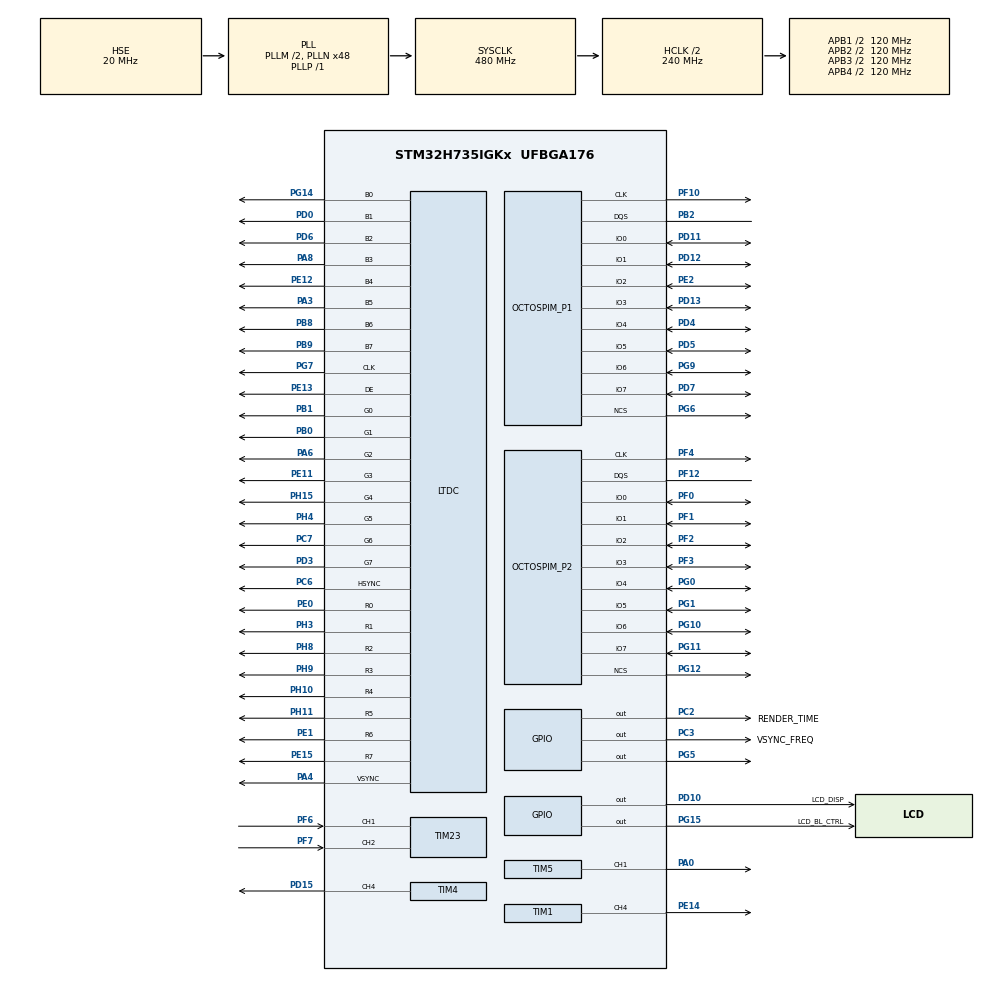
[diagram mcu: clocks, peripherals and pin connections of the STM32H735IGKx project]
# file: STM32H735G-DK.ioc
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CORTEX_M7.AccessPermission-Cortex_Memory_Protection_Unit_Region0_Settings=MPU_REGION_FULL_ACCESS
CORTEX_M7.AccessPermission-Cortex_Memory_Protection_Unit_Region2_Settings=MPU_REGION_FULL_ACCESS
CORTEX_M7.AccessPermission-Cortex_Memory_Protection_Unit_Region4_Settings=MPU_REGION_FULL_ACCESS
CORTEX_M7.BaseAddress-Cortex_Memory_Protection_Unit_Region0_Settings=0x24000000
CORTEX_M7.BaseAddress-Cortex_Memory_Protection_Unit_Region1_Settings=0x70000000
CORTEX_M7.BaseAddress-Cortex_Memory_Protection_Unit_Region2_Settings=0x70000000
CORTEX_M7.BaseAddress-Cortex_Memory_Protection_Unit_Region3_Settings=0x90000000
CORTEX_M7.BaseAddress-Cortex_Memory_Protection_Unit_Region4_Settings=0x90000000
CORTEX_M7.CPU_DCache=Enabled
CORTEX_M7.CPU_ICache=Enabled
CORTEX_M7.DisableExec-Cortex_Memory_Protection_Unit_Region0_Settings=MPU_INSTRUCTION_ACCESS_DISABLE
CORTEX_M7.DisableExec-Cortex_Memory_Protection_Unit_Region1_Settings=MPU_INSTRUCTION_ACCESS_DISABLE
CORTEX_M7.DisableExec-Cortex_Memory_Protection_Unit_Region2_Settings=MPU_INSTRUCTION_ACCESS_DISABLE
CORTEX_M7.DisableExec-Cortex_Memory_Protection_Unit_Region3_Settings=MPU_INSTRUCTION_ACCESS_DISABLE
CORTEX_M7.DisableExec-Cortex_Memory_Protection_Unit_Region4_Settings=MPU_INSTRUCTION_ACCESS_DISABLE
CORTEX_M7.Enable-Cortex_Memory_Protection_Unit_Region0_Settings=MPU_REGION_ENABLE
CORTEX_M7.Enable-Cortex_Memory_Protection_Unit_Region1_Settings=MPU_REGION_ENABLE
CORTEX_M7.Enable-Cortex_Memory_Protection_Unit_Region2_Settings=MPU_REGION_ENABLE
CORTEX_M7.Enable-Cortex_Memory_Protection_Unit_Region3_Settings=MPU_REGION_ENABLE
CORTEX_M7.Enable-Cortex_Memory_Protection_Unit_Region4_Settings=MPU_REGION_ENABLE
CORTEX_M7.IsBufferable-Cortex_Memory_Protection_Unit_Region0_Settings=MPU_ACCESS_BUFFERABLE
CORTEX_M7.IsBufferable-Cortex_Memory_Protection_Unit_Region2_Settings=MPU_ACCESS_BUFFERABLE
CORTEX_M7.IsCacheable-Cortex_Memory_Protection_Unit_Region0_Settings=MPU_ACCESS_CACHEABLE
CORTEX_M7.IsCacheable-Cortex_Memory_Protection_Unit_Region2_Settings=MPU_ACCESS_CACHEABLE
CORTEX_M7.IsCacheable-Cortex_Memory_Protection_Unit_Region4_Settings=MPU_ACCESS_CACHEABLE
CORTEX_M7.MPU_Control=MPU_PRIVILEGED_DEFAULT
CORTEX_M7.Size-Cortex_Memory_Protection_Unit_Region0_Settings=MPU_REGION_SIZE_512KB
CORTEX_M7.Size-Cortex_Memory_Protection_Unit_Region1_Settings=MPU_REGION_SIZE_512MB
CORTEX_M7.Size-Cortex_Memory_Protection_Unit_Region2_Settings=MPU_REGION_SIZE_8MB
CORTEX_M7.Size-Cortex_Memory_Protection_Unit_Region3_Settings=MPU_REGION_SIZE_512MB
CORTEX_M7.Size-Cortex_Memory_Protection_Unit_Region4_Settings=MPU_REGION_SIZE_64MB
DMA2D.ColorMode=DMA2D_OUTPUT_RGB888
DMA2D.Mode=DMA2D_R2M
FREERTOS.Tasks01=defaultTask,24,128,StartDefaultTask,Default,NULL,Dynamic,NULL,NULL;TouchGFXTask,24,1024,TouchGFX_Task,As external,NULL,Dynamic,NULL,NULL
FREERTOS.configUSE_APPLICATION_TASK_TAG=1
FREERTOS.configUSE_IDLE_HOOK=1
LTDC.ActiveH=272
LTDC.ActiveW=480
LTDC.Alpha_L0=255
LTDC.FBStartAdress_L0=0x70000000
LTDC.FBStartAdress_L1=0x70000000
LTDC.HBP=13
LTDC.HFP=32
LTDC.HSync=41
LTDC.ImageHeight_L0=272
LTDC.ImageWidth_L0=480
LTDC.Layers=0
LTDC.PixelFormat_L0=LTDC_PIXEL_FORMAT_RGB888
LTDC.VSync=10
LTDC.WindowX1_L0=480
LTDC.WindowY1_L0=272
Mcu.Family=STM32H7
Mcu.Name=STM32H735IGKx
Mcu.Package=UFBGA176
NVIC.DMA2D_IRQn=true\:5\:0\:true\:false\:true\:false\:true\:true
NVIC.LTDC_IRQn=true\:5\:0\:true\:false\:true\:false\:true\:true
NVIC.PriorityGroup=NVIC_PRIORITYGROUP_4
NVIC.TIM23_IRQn=true\:5\:0\:false\:false\:true\:true\:true\:true
NVIC.TIM6_DAC_IRQn=true\:0\:0\:false\:false\:true\:false\:false\:true
NVIC.TIM8_TRG_COM_TIM14_IRQn=true\:5\:0\:false\:false\:true\:true\:true\:true
NVIC.TimeBase=TIM6_DAC_IRQn
NVIC.TimeBaseIP=TIM6
OCTOSPI1.ChipSelectBoundary=0
OCTOSPI1.ChipSelectHighTime=2
OCTOSPI1.ClockPrescaler=2
OCTOSPI1.FifoThreshold=4
OCTOSPI1.MemoryType=HAL_OSPI_MEMTYPE_MACRONIX
OCTOSPI2.AccessTime=6
OCTOSPI2.ChipSelectBoundary=23
OCTOSPI2.ChipSelectHighTime=4
OCTOSPI2.ClkChipSelectHighTime=0
OCTOSPI2.ClockPrescaler=2
OCTOSPI2.DelayBlockBypass=HAL_OSPI_DELAY_BLOCK_USED
OCTOSPI2.DelayHoldQuarterCycle=HAL_OSPI_DHQC_ENABLE
OCTOSPI2.DeviceSize=24
OCTOSPI2.FifoThreshold=4
OCTOSPI2.LatencyMode=HAL_OSPI_FIXED_LATENCY
OCTOSPI2.RWRecoveryTime=3
OCTOSPI2.Refresh=400
OCTOSPI2.WriteZeroLatency=HAL_OSPI_LATENCY_ON_WRITE
PA0.Signal=S_TIM5_CH1
PA3.GPIO_Speed=GPIO_SPEED_FREQ_VERY_HIGH
PA3.Mode=RGB888
PA3.Signal=LTDC_B5
PA4.GPIO_Speed=GPIO_SPEED_FREQ_VERY_HIGH
PA4.Mode=RGB888
PA4.Signal=LTDC_VSYNC
PA6.GPIO_Speed=GPIO_SPEED_FREQ_VERY_HIGH
PA6.Mode=RGB888
PA6.Signal=LTDC_G2
PA8.GPIO_Speed=GPIO_SPEED_FREQ_VERY_HIGH
PA8.Mode=RGB888
PA8.Signal=LTDC_B3
PB0.GPIO_Speed=GPIO_SPEED_FREQ_VERY_HIGH
PB0.Mode=RGB888
PB0.Signal=LTDC_G1
PB1.GPIO_Speed=GPIO_SPEED_FREQ_VERY_HIGH
PB1.Mode=RGB888
PB1.Signal=LTDC_G0
PB2.Mode=OCTOSPI1_Port1_DQS
PB2.Signal=OCTOSPIM_P1_DQS
PB8.GPIO_Speed=GPIO_SPEED_FREQ_VERY_HIGH
PB8.Mode=RGB888
PB8.Signal=LTDC_B6
PB9.GPIO_Speed=GPIO_SPEED_FREQ_VERY_HIGH
PB9.Mode=RGB888
PB9.Signal=LTDC_B7
PC2.GPIO_Label=RENDER_TIME
PC2.GPIO_PuPd=GPIO_PULLUP
PC2.GPIO_Speed=GPIO_SPEED_FREQ_VERY_HIGH
PC2.PinState=GPIO_PIN_SET
PC2.Signal=GPIO_Output
PC3.GPIO_Label=VSYNC_FREQ
PC3.GPIO_PuPd=GPIO_PULLUP
PC3.GPIO_Speed=GPIO_SPEED_FREQ_VERY_HIGH
PC3.PinState=GPIO_PIN_SET
PC3.Signal=GPIO_Output
PC6.GPIO_Speed=GPIO_SPEED_FREQ_VERY_HIGH
PC6.Mode=RGB888
PC6.Signal=LTDC_HSYNC
PC7.GPIO_Speed=GPIO_SPEED_FREQ_VERY_HIGH
PC7.Mode=RGB888
PC7.Signal=LTDC_G6
PD0.GPIO_Speed=GPIO_SPEED_FREQ_VERY_HIGH
PD0.Mode=RGB888
PD0.Signal=LTDC_B1
PD10.GPIO_Label=LCD_DISP
PD10.GPIO_PuPd=GPIO_NOPULL
PD10.GPIO_Speed=GPIO_SPEED_FREQ_LOW
PD10.PinState=GPIO_PIN_RESET
PD10.Signal=GPIO_Output
PD11.Mode=OCTOSPI1_IOL_Port1L
PD11.Signal=OCTOSPIM_P1_IO0
PD12.Mode=OCTOSPI1_IOL_Port1L
PD12.Signal=OCTOSPIM_P1_IO1
PD13.Mode=OCTOSPI1_IOL_Port1L
PD13.Signal=OCTOSPIM_P1_IO3
PD15.Signal=S_TIM4_CH4
PD3.GPIO_Speed=GPIO_SPEED_FREQ_VERY_HIGH
PD3.Mode=RGB888
PD3.Signal=LTDC_G7
PD4.Mode=OCTOSPI1_IOH_Port1H
PD4.Signal=OCTOSPIM_P1_IO4
PD5.Mode=OCTOSPI1_IOH_Port1H
PD5.Signal=OCTOSPIM_P1_IO5
PD6.GPIO_Speed=GPIO_SPEED_FREQ_VERY_HIGH
PD6.Mode=RGB888
PD6.Signal=LTDC_B2
PD7.Mode=OCTOSPI1_IOH_Port1H
PD7.Signal=OCTOSPIM_P1_IO7
PE0.GPIO_Speed=GPIO_SPEED_FREQ_VERY_HIGH
PE0.Mode=RGB888
PE0.Signal=LTDC_R0
PE1.GPIO_Speed=GPIO_SPEED_FREQ_VERY_HIGH
PE1.Mode=RGB888
PE1.Signal=LTDC_R6
PE11.GPIO_Speed=GPIO_SPEED_FREQ_VERY_HIGH
PE11.Mode=RGB888
PE11.Signal=LTDC_G3
PE12.GPIO_Speed=GPIO_SPEED_FREQ_VERY_HIGH
PE12.Mode=RGB888
PE12.Signal=LTDC_B4
PE13.GPIO_Speed=GPIO_SPEED_FREQ_VERY_HIGH
PE13.Mode=RGB888
PE13.Signal=LTDC_DE
PE14.Signal=S_TIM1_CH4
PE15.GPIO_Speed=GPIO_SPEED_FREQ_VERY_HIGH
PE15.Mode=RGB888
PE15.Signal=LTDC_R7
PE2.Mode=OCTOSPI1_IOL_Port1L
PE2.Signal=OCTOSPIM_P1_IO2
PF0.Mode=OCTOSPI2_IOL_Port2L
PF0.Signal=OCTOSPIM_P2_IO0
PF1.Mode=OCTOSPI2_IOL_Port2L
PF1.Signal=OCTOSPIM_P2_IO1
PF10.Mode=O1_P1_CLK
PF10.Signal=OCTOSPIM_P1_CLK
PF12.Mode=OCTOSPI2_Port2_DQS
PF12.Signal=OCTOSPIM_P2_DQS
PF2.Mode=OCTOSPI2_IOL_Port2L
PF2.Signal=OCTOSPIM_P2_IO2
PF3.Mode=OCTOSPI2_IOL_Port2L
PF3.Signal=OCTOSPIM_P2_IO3
PF4.Mode=O2_P2_CLK
PF4.Signal=OCTOSPIM_P2_CLK
PF6.Mode=Encoder_Interface
PF6.Signal=TIM23_CH1
PF7.Signal=S_TIM23_CH2
PG0.Mode=OCTOSPI2_IOH_Port2H
PG0.Signal=OCTOSPIM_P2_IO4
PG1.Mode=OCTOSPI2_IOH_Port2H
PG1.Signal=OCTOSPIM_P2_IO5
PG10.Mode=OCTOSPI2_IOH_Port2H
PG10.Signal=OCTOSPIM_P2_IO6
PG11.Mode=OCTOSPI2_IOH_Port2H
PG11.Signal=OCTOSPIM_P2_IO7
PG12.Mode=OCTOSPI2_Port2_NCS
PG12.Signal=OCTOSPIM_P2_NCS
PG14.GPIO_Speed=GPIO_SPEED_FREQ_VERY_HIGH
PG14.Mode=RGB888
PG14.Signal=LTDC_B0
PG15.GPIO_Label=LCD_BL_CTRL
PG15.Signal=GPIO_Output
PG5.Signal=GPIO_Output
PG6.Mode=OCTOSPI1_Port1_NCS
PG6.Signal=OCTOSPIM_P1_NCS
PG7.GPIO_Speed=GPIO_SPEED_FREQ_VERY_HIGH
PG7.Mode=RGB888
PG7.Signal=LTDC_CLK
PG9.Mode=OCTOSPI1_IOH_Port1H
PG9.Signal=OCTOSPIM_P1_IO6
PH0-OSC_IN.Mode=HSE-External-Oscillator
PH0-OSC_IN.Signal=RCC_OSC_IN
PH1-OSC_OUT.Mode=HSE-External-Oscillator
PH1-OSC_OUT.Signal=RCC_OSC_OUT
PH10.GPIO_Speed=GPIO_SPEED_FREQ_VERY_HIGH
PH10.Mode=RGB888
PH10.Signal=LTDC_R4
PH11.GPIO_Speed=GPIO_SPEED_FREQ_VERY_HIGH
PH11.Mode=RGB888
PH11.Signal=LTDC_R5
PH15.GPIO_Speed=GPIO_SPEED_FREQ_VERY_HIGH
PH15.Mode=RGB888
PH15.Signal=LTDC_G4
PH3.GPIO_Speed=GPIO_SPEED_FREQ_VERY_HIGH
PH3.Mode=RGB888
PH3.Signal=LTDC_R1
PH4.GPIO_Speed=GPIO_SPEED_FREQ_VERY_HIGH
PH4.Mode=RGB888
PH4.Signal=LTDC_G5
PH8.GPIO_Speed=GPIO_SPEED_FREQ_VERY_HIGH
PH8.Mode=RGB888
PH8.Signal=LTDC_R2
PH9.GPIO_Speed=GPIO_SPEED_FREQ_VERY_HIGH
PH9.Mode=RGB888
PH9.Signal=LTDC_R3
ProjectManager.HeapSize=0x1000
ProjectManager.StackSize=0x1000
ProjectManager.TargetToolchain=STM32CubeIDE
RCC.ADCFreq_Value=160000000
RCC.APB1Freq_Value=120000000
RCC.APB2Freq_Value=120000000
RCC.APB3Freq_Value=120000000
RCC.APB4Freq_Value=120000000
RCC.CortexFreq_Value=480000000
RCC.D1PPRE=RCC_APB3_DIV2
RCC.D2PPRE1=RCC_APB1_DIV2
RCC.D2PPRE2=RCC_APB2_DIV2
RCC.D3PPRE=RCC_APB4_DIV2
RCC.DIVM1=2
RCC.DIVM2=5
RCC.DIVM3=25
RCC.DIVN1=48
RCC.DIVN2=80
RCC.DIVN3=288
RCC.DIVP1=1
RCC.DIVR3=30
RCC.HCLKFreq_Value=240000000
RCC.HPRE=RCC_HCLK_DIV2
RCC.HSE_VALUE=20000000
RCC.PLL2FRACN=0
RCC.PLL3FRACN=0
RCC.PLLFRACN=0
RCC.PLLSourceVirtual=RCC_PLLSOURCE_HSE
RCC.QSPICLockSelection=RCC_OSPICLKSOURCE_PLL2
RCC.SYSCLKFreq_VALUE=480000000
RCC.SYSCLKSource=RCC_SYSCLKSOURCE_PLLCLK
RCC.SupplySource=PWR_DIRECT_SMPS_SUPPLY
RCC.USBFreq_Value=240000000
SH.S_TIM1_CH4.0=TIM1_CH4,PWM Generation4 CH4
SH.S_TIM23_CH2.0=TIM23_CH2,Encoder_Interface
SH.S_TIM4_CH4.0=TIM4_CH4,PWM Generation4 CH4
SH.S_TIM5_CH1.0=TIM5_CH1,PWM Generation1 CH1
STMicroelectronics.X-CUBE-TOUCHGFX.4.18.1.ApplicationCcGraphicsJjApplication=TouchGFXOoGenerator
STMicroelectronics.X-CUBE-TOUCHGFX.4.18.1.tgfx_address1=0x70000000
STMicroelectronics.X-CUBE-TOUCHGFX.4.18.1.tgfx_address2=0x70060000
STMicroelectronics.X-CUBE-TOUCHGFX.4.18.1.tgfx_buffering_strategy=Double
STMicroelectronics.X-CUBE-TOUCHGFX.4.18.1.tgfx_display_interface=disp_ltdc
STMicroelectronics.X-CUBE-TOUCHGFX.4.18.1.tgfx_hardware_accelerator=dma_2d
STMicroelectronics.X-CUBE-TOUCHGFX.4.18.1.tgfx_location=By Address
STMicroelectronics.X-CUBE-TOUCHGFX.4.18.1.tgfx_vsync=vsync_ltdc
TIM1.AutoReloadPreload=TIM_AUTORELOAD_PRELOAD_ENABLE
TIM1.Channel-PWM\ Generation4\ CH4=TIM_CHANNEL_4
TIM1.CounterMode=TIM_COUNTERMODE_CENTERALIGNED1
TIM1.Period=28800-1
TIM1.Pulse-PWM\ Generation4\ CH4=1
TIM14.Period=57600-1
TIM23.EncoderMode=TIM_ENCODERMODE_TI12
TIM4.AutoReloadPreload=TIM_AUTORELOAD_PRELOAD_ENABLE
TIM4.Channel-PWM\ Generation4\ CH4=TIM_CHANNEL_4
TIM4.CounterMode=TIM_COUNTERMODE_CENTERALIGNED1
TIM4.Period=28800-1
TIM4.Pulse-PWM\ Generation4\ CH4=1
TIM5.AutoReloadPreload=TIM_AUTORELOAD_PRELOAD_ENABLE
TIM5.Channel-PWM\ Generation1\ CH1=TIM_CHANNEL_1
TIM5.CounterMode=TIM_COUNTERMODE_CENTERALIGNED1
TIM5.Period=28800-1
TIM5.Pulse-PWM\ Generation1\ CH1=1
VP_CRC_VS_CRC.Mode=CRC_Activate
VP_DMA2D_VS_DMA2D.Mode=DMA2D_Activate
VP_FREERTOS_VS_CMSIS_V2.Mode=CMSIS_V2
VP_OCTOSPI1_VS_octo.Mode=octo_mode
VP_OCTOSPI2_VS_octo.Mode=hyperbus_mode
VP_STMicroelectronics.X-CUBE-TOUCHGFX_VS_GraphicsJjApplication_4.18.1.Mode=GraphicsJjApplication
VP_SYS_VS_tim6.Mode=TIM6
VP_TIM14_VS_ClockSourceINT.Mode=Enable_Timer
board=custom

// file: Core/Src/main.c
/* USER CODE BEGIN Header */
/**
  ******************************************************************************
  * @file           : main.c
  * @brief          : Main program body
  ******************************************************************************
  * @attention
  *
  * <h2><center>&copy; Copyright (c) 2020 STMicroelectronics.
  * All rights reserved.</center></h2>
  *
  * This software component is licensed by ST under Ultimate Liberty license
  * SLA0044, the "License"; You may not use this file except in compliance with
  * the License. You may obtain a copy of the License at:
  *                             www.st.com/SLA0044
  *
  ******************************************************************************
  */
/* USER CODE END Header */
#include "main.h"
#include "cmsis_os.h"
#include "app_touchgfx.h"

/* USER CODE BEGIN Includes */
#include "stm32h735g_discovery_ospi.h"
#include "stm32h7xx_hal_ospi.h"
#include "math.h"
#include "FreeRTOS.h"
#include "queue.h"
#include "PI.h"
/* USER CODE END Includes */

/* USER CODE BEGIN PTD */
static PI_DATA_t angularFreqPI =
{
.kp = 3.0f,
.ki = 0.08f,
.nlmt = -2000.f,
.plmt = 2000.f,
.sum = 0};

/* USER CODE END PTD */

/* USER CODE BEGIN PD */

#define PI 3.1415926535f
#define TWO_PI (PI*2)
#define TWO_PI_DIV_BY_THREE (TWO_PI / 3.0f)
#define FOUR_PI_DIV_BY_THREE (TWO_PI_DIV_BY_THREE * 2.0f)

#define DIVIDE_BY_TWO_PI(x) (x / TWO_PI)
#define MULTIPLY_BY_TWO_PI(x) (x * TWO_PI)
#define SPEED_TO_RPM(x) ((x * 60.0) / 1000.0)

/* USER CODE END PD */

CRC_HandleTypeDef hcrc;

DMA2D_HandleTypeDef hdma2d;

LTDC_HandleTypeDef hltdc;

OSPI_HandleTypeDef hospi1;
OSPI_HandleTypeDef hospi2;

TIM_HandleTypeDef htim1;
TIM_HandleTypeDef htim4;
TIM_HandleTypeDef htim5;
TIM_HandleTypeDef htim14;
TIM_HandleTypeDef htim23;

/* Definitions for defaultTask */
osThreadId_t defaultTaskHandle;
const osThreadAttr_t defaultTask_attributes = {
  .name = "defaultTask",
  .stack_size = 128 * 4,
  .priority = (osPriority_t) osPriorityNormal,
};
/* Definitions for TouchGFXTask */
osThreadId_t TouchGFXTaskHandle;
const osThreadAttr_t TouchGFXTask_attributes = {
  .name = "TouchGFXTask",
  .stack_size = 1024 * 4,
  .priority = (osPriority_t) osPriorityNormal,
};
/* USER CODE BEGIN PV */

uint32_t counter = 0;
uint32_t upperLimit = 100;
uint32_t frq = 50;
float angularFrq = 50 * TWO_PI;
uint32_t normalize = 28800;

float time = 0.0002f;
float modulationIndex = 0.8f;

uint32_t counterEnc = 0;
int32_t signedCounterEnc = 0;
float position = 0;
int rpm = 0;
float fl_rpm;
float rpm_ref = 0;
float speed = 0;
float oldpos = 0;
int indx = 0;
float angularFrqEnc = 0;

uint8_t piUsed = 0;
float PI_angularFrq = 0;

int arrNumbers[5] = {0}; // Moving average window length
int pos = 0;
int newAvgRpm = 0;
long sum = 0;
int len = sizeof(arrNumbers) / sizeof(int);

float offset = 0.0;//16.985;
float temp_pi_control;
float old_foo_freq = 0.0;

/* USER CODE END PV */

void SystemClock_Config(void);
void PeriphCommonClock_Config(void);
static void MPU_Config(void);
static void MX_GPIO_Init(void);
static void MX_CRC_Init(void);
static void MX_DMA2D_Init(void);
static void MX_LTDC_Init(void);
static void MX_OCTOSPI1_Init(void);
static void MX_OCTOSPI2_Init(void);
static void MX_TIM1_Init(void);
static void MX_TIM4_Init(void);
static void MX_TIM5_Init(void);
static void MX_TIM14_Init(void);
static void MX_TIM23_Init(void);
void StartDefaultTask(void *argument);
extern void TouchGFX_Task(void *argument);

/* USER CODE BEGIN PFP */

void adjustRPM(uint32_t);
void adjustMIAndFreq(uint32_t, float);
void motorStart(void);
float pi_control(PI_DATA_t* arg, float error);
float sat(float x, float max, float min);
void limitAngFrq(void);
void setModulationIndex(void);
void adjustMIAndFreqforPI(float foo_freq, float foo_MI);
int movingAvg(int *ptrArrNumbers, long *ptrSum, int pos, int len, int nextNum);

/* USER CODE END PFP */

int main(void)
{

  /* MPU Configuration--------------------------------------------------------*/
  MPU_Config();

  /* Enable I-Cache---------------------------------------------------------*/
  SCB_EnableICache();

  /* Enable D-Cache---------------------------------------------------------*/
  SCB_EnableDCache();

  /* MCU Configuration--------------------------------------------------------*/

  /* Reset of all peripherals, Initializes the Flash interface and the Systick. */
  HAL_Init();

  /* Configure the system clock */
  SystemClock_Config();

/* Configure the peripherals common clocks */
  PeriphCommonClock_Config();

  /* Initialize all configured peripherals */
  MX_GPIO_Init();
  MX_CRC_Init();
  MX_DMA2D_Init();
  MX_LTDC_Init();
  MX_OCTOSPI1_Init();
  MX_OCTOSPI2_Init();
  MX_TIM1_Init();
  MX_TIM4_Init();
  MX_TIM5_Init();
  MX_TIM14_Init();
  MX_TIM23_Init();
  MX_TouchGFX_Init();
  /* USER CODE BEGIN 2 */

  motorStart();

  /* USER CODE END 2 */

  /* Init scheduler */
  osKernelInitialize();

  /* Create the thread(s) */
  /* creation of defaultTask */
  defaultTaskHandle = osThreadNew(StartDefaultTask, NULL, &defaultTask_attributes);

  /* creation of TouchGFXTask */
  TouchGFXTaskHandle = osThreadNew(TouchGFX_Task, NULL, &TouchGFXTask_attributes);

  /* Start scheduler */
  osKernelStart();

  /* We should never get here as control is now taken by the scheduler */
  /* Infinite loop */
  while (1)
  {

  }
}

void SystemClock_Config(void)
{
  RCC_OscInitTypeDef RCC_OscInitStruct = {0};
  RCC_ClkInitTypeDef RCC_ClkInitStruct = {0};

  /** Supply configuration update enable
  */
  HAL_PWREx_ConfigSupply(PWR_DIRECT_SMPS_SUPPLY);
  /** Configure the main internal regulator output voltage
  */
  __HAL_PWR_VOLTAGESCALING_CONFIG(PWR_REGULATOR_VOLTAGE_SCALE0);

  while(!__HAL_PWR_GET_FLAG(PWR_FLAG_VOSRDY)) {}
  /** Macro to configure the PLL clock source
  */
  __HAL_RCC_PLL_PLLSOURCE_CONFIG(RCC_PLLSOURCE_HSE);
  /** Initializes the RCC Oscillators according to the specified parameters
  * in the RCC_OscInitTypeDef structure.
  */
  RCC_OscInitStruct.OscillatorType = RCC_OSCILLATORTYPE_HSE;
  RCC_OscInitStruct.HSEState = RCC_HSE_ON;
  RCC_OscInitStruct.PLL.PLLState = RCC_PLL_ON;
  RCC_OscInitStruct.PLL.PLLSource = RCC_PLLSOURCE_HSE;
  RCC_OscInitStruct.PLL.PLLM = 2;
  RCC_OscInitStruct.PLL.PLLN = 48;
  RCC_OscInitStruct.PLL.PLLP = 1;
  RCC_OscInitStruct.PLL.PLLQ = 2;
  RCC_OscInitStruct.PLL.PLLR = 2;
  RCC_OscInitStruct.PLL.PLLRGE = RCC_PLL1VCIRANGE_3;
  RCC_OscInitStruct.PLL.PLLVCOSEL = RCC_PLL1VCOWIDE;
  RCC_OscInitStruct.PLL.PLLFRACN = 0;
  if (HAL_RCC_OscConfig(&RCC_OscInitStruct) != HAL_OK)
  {
    Error_Handler();
  }
  /** Initializes the CPU, AHB and APB buses clocks
  */
  RCC_ClkInitStruct.ClockType = RCC_CLOCKTYPE_HCLK|RCC_CLOCKTYPE_SYSCLK
                              |RCC_CLOCKTYPE_PCLK1|RCC_CLOCKTYPE_PCLK2
                              |RCC_CLOCKTYPE_D3PCLK1|RCC_CLOCKTYPE_D1PCLK1;
  RCC_ClkInitStruct.SYSCLKSource = RCC_SYSCLKSOURCE_PLLCLK;
  RCC_ClkInitStruct.SYSCLKDivider = RCC_SYSCLK_DIV1;
  RCC_ClkInitStruct.AHBCLKDivider = RCC_HCLK_DIV2;
  RCC_ClkInitStruct.APB3CLKDivider = RCC_APB3_DIV2;
  RCC_ClkInitStruct.APB1CLKDivider = RCC_APB1_DIV2;
  RCC_ClkInitStruct.APB2CLKDivider = RCC_APB2_DIV2;
  RCC_ClkInitStruct.APB4CLKDivider = RCC_APB4_DIV2;

  if (HAL_RCC_ClockConfig(&RCC_ClkInitStruct, FLASH_LATENCY_3) != HAL_OK)
  {
    Error_Handler();
  }
}

void PeriphCommonClock_Config(void)
{
  RCC_PeriphCLKInitTypeDef PeriphClkInitStruct = {0};

  /** Initializes the peripherals clock
  */
  PeriphClkInitStruct.PeriphClockSelection = RCC_PERIPHCLK_OSPI;
  PeriphClkInitStruct.PLL2.PLL2M = 5;
  PeriphClkInitStruct.PLL2.PLL2N = 80;
  PeriphClkInitStruct.PLL2.PLL2P = 2;
  PeriphClkInitStruct.PLL2.PLL2Q = 2;
  PeriphClkInitStruct.PLL2.PLL2R = 2;
  PeriphClkInitStruct.PLL2.PLL2RGE = RCC_PLL2VCIRANGE_2;
  PeriphClkInitStruct.PLL2.PLL2VCOSEL = RCC_PLL2VCOWIDE;
  PeriphClkInitStruct.PLL2.PLL2FRACN = 0;
  PeriphClkInitStruct.OspiClockSelection = RCC_OSPICLKSOURCE_PLL2;
  if (HAL_RCCEx_PeriphCLKConfig(&PeriphClkInitStruct) != HAL_OK)
  {
    Error_Handler();
  }
}

static void MX_CRC_Init(void)
{

  hcrc.Instance = CRC;
  hcrc.Init.DefaultPolynomialUse = DEFAULT_POLYNOMIAL_ENABLE;
  hcrc.Init.DefaultInitValueUse = DEFAULT_INIT_VALUE_ENABLE;
  hcrc.Init.InputDataInversionMode = CRC_INPUTDATA_INVERSION_NONE;
  hcrc.Init.OutputDataInversionMode = CRC_OUTPUTDATA_INVERSION_DISABLE;
  hcrc.InputDataFormat = CRC_INPUTDATA_FORMAT_BYTES;
  if (HAL_CRC_Init(&hcrc) != HAL_OK)
  {
    Error_Handler();
  }

}

static void MX_DMA2D_Init(void)
{

  hdma2d.Instance = DMA2D;
  hdma2d.Init.Mode = DMA2D_R2M;
  hdma2d.Init.ColorMode = DMA2D_OUTPUT_RGB888;
  hdma2d.Init.OutputOffset = 0;
  if (HAL_DMA2D_Init(&hdma2d) != HAL_OK)
  {
    Error_Handler();
  }

}

static void MX_LTDC_Init(void)
{

  LTDC_LayerCfgTypeDef pLayerCfg = {0};

  hltdc.Instance = LTDC;
  hltdc.Init.HSPolarity = LTDC_HSPOLARITY_AL;
  hltdc.Init.VSPolarity = LTDC_VSPOLARITY_AL;
  hltdc.Init.DEPolarity = LTDC_DEPOLARITY_AL;
  hltdc.Init.PCPolarity = LTDC_PCPOLARITY_IPC;
  hltdc.Init.HorizontalSync = 40;
  hltdc.Init.VerticalSync = 9;
  hltdc.Init.AccumulatedHBP = 53;
  hltdc.Init.AccumulatedVBP = 11;
  hltdc.Init.AccumulatedActiveW = 533;
  hltdc.Init.AccumulatedActiveH = 283;
  hltdc.Init.TotalWidth = 565;
  hltdc.Init.TotalHeigh = 285;
  hltdc.Init.Backcolor.Blue = 0;
  hltdc.Init.Backcolor.Green = 0;
  hltdc.Init.Backcolor.Red = 0;
  if (HAL_LTDC_Init(&hltdc) != HAL_OK)
  {
    Error_Handler();
  }
  pLayerCfg.WindowX0 = 0;
  pLayerCfg.WindowX1 = 480;
  pLayerCfg.WindowY0 = 0;
  pLayerCfg.WindowY1 = 272;
  pLayerCfg.PixelFormat = LTDC_PIXEL_FORMAT_RGB888;
  pLayerCfg.Alpha = 255;
  pLayerCfg.Alpha0 = 0;
  pLayerCfg.BlendingFactor1 = LTDC_BLENDING_FACTOR1_CA;
  pLayerCfg.BlendingFactor2 = LTDC_BLENDING_FACTOR2_CA;
  pLayerCfg.FBStartAdress = 0x70000000;
  pLayerCfg.ImageWidth = 480;
  pLayerCfg.ImageHeight = 272;
  pLayerCfg.Backcolor.Blue = 0;
  pLayerCfg.Backcolor.Green = 0;
  pLayerCfg.Backcolor.Red = 0;
  if (HAL_LTDC_ConfigLayer(&hltdc, &pLayerCfg, 0) != HAL_OK)
  {
    Error_Handler();
  }

}

static void MX_OCTOSPI1_Init(void)
{

  /* USER CODE BEGIN OCTOSPI1_Init 0 */
  BSP_OSPI_NOR_Init_t ospi_nor_int;
  /* USER CODE END OCTOSPI1_Init 0 */

  OSPIM_CfgTypeDef sOspiManagerCfg = {0};

  /* OCTOSPI1 parameter configuration*/
  hospi1.Instance = OCTOSPI1;
  hospi1.Init.FifoThreshold = 4;
  hospi1.Init.DualQuad = HAL_OSPI_DUALQUAD_DISABLE;
  hospi1.Init.MemoryType = HAL_OSPI_MEMTYPE_MACRONIX;
  hospi1.Init.DeviceSize = 32;
  hospi1.Init.ChipSelectHighTime = 2;
  hospi1.Init.FreeRunningClock = HAL_OSPI_FREERUNCLK_DISABLE;
  hospi1.Init.ClockMode = HAL_OSPI_CLOCK_MODE_0;
  hospi1.Init.WrapSize = HAL_OSPI_WRAP_NOT_SUPPORTED;
  hospi1.Init.ClockPrescaler = 2;
  hospi1.Init.SampleShifting = HAL_OSPI_SAMPLE_SHIFTING_NONE;
  hospi1.Init.DelayHoldQuarterCycle = HAL_OSPI_DHQC_DISABLE;
  hospi1.Init.ChipSelectBoundary = 0;
  hospi1.Init.ClkChipSelectHighTime = 0;
  hospi1.Init.DelayBlockBypass = HAL_OSPI_DELAY_BLOCK_BYPASSED;
  hospi1.Init.MaxTran = 0;
  hospi1.Init.Refresh = 0;
  if (HAL_OSPI_Init(&hospi1) != HAL_OK)
  {
    Error_Handler();
  }
  sOspiManagerCfg.ClkPort = 1;
  sOspiManagerCfg.DQSPort = 1;
  sOspiManagerCfg.NCSPort = 1;
  sOspiManagerCfg.IOLowPort = HAL_OSPIM_IOPORT_1_LOW;
  sOspiManagerCfg.IOHighPort = HAL_OSPIM_IOPORT_1_HIGH;
  if (HAL_OSPIM_Config(&hospi1, &sOspiManagerCfg, HAL_OSPI_TIMEOUT_DEFAULT_VALUE) != HAL_OK)
  {
    Error_Handler();
  }
  /* USER CODE BEGIN OCTOSPI1_Init 2 */
  HAL_OSPI_DeInit(&hospi1);
  ospi_nor_int.InterfaceMode = BSP_OSPI_NOR_OPI_MODE;
  ospi_nor_int.TransferRate  = BSP_OSPI_NOR_DTR_TRANSFER;
  BSP_OSPI_NOR_DeInit(0);
  if(BSP_OSPI_NOR_Init(0, &ospi_nor_int) != BSP_ERROR_NONE)
  {
    Error_Handler();
  }
  if(BSP_OSPI_NOR_EnableMemoryMappedMode(0) != BSP_ERROR_NONE)
  {
    Error_Handler();
  }
  /* USER CODE END OCTOSPI1_Init 2 */

}

static void MX_OCTOSPI2_Init(void)
{

  /* USER CODE BEGIN OCTOSPI2_Init 0 */
  BSP_OSPI_RAM_Init_t ospi_ram_init;
  /* USER CODE END OCTOSPI2_Init 0 */

  OSPIM_CfgTypeDef sOspiManagerCfg = {0};
  OSPI_HyperbusCfgTypeDef sHyperBusCfg = {0};

  /* USER CODE BEGIN OCTOSPI2_Init 1 */
  OSPI_HyperbusCmdTypeDef sCommand = {0};
  OSPI_MemoryMappedTypeDef sMemMappedCfg = {0};
  /* USER CODE END OCTOSPI2_Init 1 */
  /* OCTOSPI2 parameter configuration*/
  hospi2.Instance = OCTOSPI2;
  hospi2.Init.FifoThreshold = 4;
  hospi2.Init.DualQuad = HAL_OSPI_DUALQUAD_DISABLE;
  hospi2.Init.MemoryType = HAL_OSPI_MEMTYPE_HYPERBUS;
  hospi2.Init.DeviceSize = 24;
  hospi2.Init.ChipSelectHighTime = 4;
  hospi2.Init.FreeRunningClock = HAL_OSPI_FREERUNCLK_DISABLE;
  hospi2.Init.ClockMode = HAL_OSPI_CLOCK_MODE_0;
  hospi2.Init.WrapSize = HAL_OSPI_WRAP_NOT_SUPPORTED;
  hospi2.Init.ClockPrescaler = 2;
  hospi2.Init.SampleShifting = HAL_OSPI_SAMPLE_SHIFTING_NONE;
  hospi2.Init.DelayHoldQuarterCycle = HAL_OSPI_DHQC_ENABLE;
  hospi2.Init.ChipSelectBoundary = 23;
  hospi2.Init.ClkChipSelectHighTime = 0;
  hospi2.Init.DelayBlockBypass = HAL_OSPI_DELAY_BLOCK_USED;
  hospi2.Init.MaxTran = 0;
  hospi2.Init.Refresh = 400;
  if (HAL_OSPI_Init(&hospi2) != HAL_OK)
  {
    Error_Handler();
  }
  sOspiManagerCfg.ClkPort = 2;
  sOspiManagerCfg.DQSPort = 2;
  sOspiManagerCfg.NCSPort = 2;
  sOspiManagerCfg.IOLowPort = HAL_OSPIM_IOPORT_2_LOW;
  sOspiManagerCfg.IOHighPort = HAL_OSPIM_IOPORT_2_HIGH;
  if (HAL_OSPIM_Config(&hospi2, &sOspiManagerCfg, HAL_OSPI_TIMEOUT_DEFAULT_VALUE) != HAL_OK)
  {
    Error_Handler();
  }
  sHyperBusCfg.RWRecoveryTime = 3;
  sHyperBusCfg.AccessTime = 6;
  sHyperBusCfg.WriteZeroLatency = HAL_OSPI_LATENCY_ON_WRITE;
  sHyperBusCfg.LatencyMode = HAL_OSPI_FIXED_LATENCY;
  if (HAL_OSPI_HyperbusCfg(&hospi2, &sHyperBusCfg, HAL_OSPI_TIMEOUT_DEFAULT_VALUE) != HAL_OK)
  {
    Error_Handler();
  }
  /* USER CODE BEGIN OCTOSPI2_Init 2 */
  sCommand.AddressSpace = HAL_OSPI_MEMORY_ADDRESS_SPACE;
  sCommand.AddressSize  = HAL_OSPI_ADDRESS_32_BITS;
  sCommand.DQSMode      = HAL_OSPI_DQS_ENABLE;
  sCommand.Address      = 0;
  sCommand.NbData       = 1;

  if (HAL_OSPI_HyperbusCmd(&hospi2, &sCommand, HAL_OSPI_TIMEOUT_DEFAULT_VALUE) != HAL_OK)
  {
    Error_Handler();
  }

  sMemMappedCfg.TimeOutActivation = HAL_OSPI_TIMEOUT_COUNTER_DISABLE;

  if (HAL_OSPI_MemoryMapped(&hospi2, &sMemMappedCfg) != HAL_OK)
  {
    Error_Handler();
  }

  /* USER CODE END OCTOSPI2_Init 2 */

}

static void MX_TIM1_Init(void)
{

  TIM_MasterConfigTypeDef sMasterConfig = {0};
  TIM_OC_InitTypeDef sConfigOC = {0};
  TIM_BreakDeadTimeConfigTypeDef sBreakDeadTimeConfig = {0};

  htim1.Instance = TIM1;
  htim1.Init.Prescaler = 0;
  htim1.Init.CounterMode = TIM_COUNTERMODE_CENTERALIGNED1;
  htim1.Init.Period = 28800-1;
  htim1.Init.ClockDivision = TIM_CLOCKDIVISION_DIV1;
  htim1.Init.RepetitionCounter = 0;
  htim1.Init.AutoReloadPreload = TIM_AUTORELOAD_PRELOAD_ENABLE;
  if (HAL_TIM_PWM_Init(&htim1) != HAL_OK)
  {
    Error_Handler();
  }
  sMasterConfig.MasterOutputTrigger = TIM_TRGO_RESET;
  sMasterConfig.MasterOutputTrigger2 = TIM_TRGO2_RESET;
  sMasterConfig.MasterSlaveMode = TIM_MASTERSLAVEMODE_DISABLE;
  if (HAL_TIMEx_MasterConfigSynchronization(&htim1, &sMasterConfig) != HAL_OK)
  {
    Error_Handler();
  }
  sConfigOC.OCMode = TIM_OCMODE_PWM1;
  sConfigOC.Pulse = 1;
  sConfigOC.OCPolarity = TIM_OCPOLARITY_HIGH;
  sConfigOC.OCFastMode = TIM_OCFAST_DISABLE;
  sConfigOC.OCIdleState = TIM_OCIDLESTATE_RESET;
  sConfigOC.OCNIdleState = TIM_OCNIDLESTATE_RESET;
  if (HAL_TIM_PWM_ConfigChannel(&htim1, &sConfigOC, TIM_CHANNEL_4) != HAL_OK)
  {
    Error_Handler();
  }
  sBreakDeadTimeConfig.OffStateRunMode = TIM_OSSR_DISABLE;
  sBreakDeadTimeConfig.OffStateIDLEMode = TIM_OSSI_DISABLE;
  sBreakDeadTimeConfig.LockLevel = TIM_LOCKLEVEL_OFF;
  sBreakDeadTimeConfig.DeadTime = 0;
  sBreakDeadTimeConfig.BreakState = TIM_BREAK_DISABLE;
  sBreakDeadTimeConfig.BreakPolarity = TIM_BREAKPOLARITY_HIGH;
  sBreakDeadTimeConfig.BreakFilter = 0;
  sBreakDeadTimeConfig.Break2State = TIM_BREAK2_DISABLE;
  sBreakDeadTimeConfig.Break2Polarity = TIM_BREAK2POLARITY_HIGH;
  sBreakDeadTimeConfig.Break2Filter = 0;
  sBreakDeadTimeConfig.AutomaticOutput = TIM_AUTOMATICOUTPUT_DISABLE;
  if (HAL_TIMEx_ConfigBreakDeadTime(&htim1, &sBreakDeadTimeConfig) != HAL_OK)
  {
    Error_Handler();
  }
  HAL_TIM_MspPostInit(&htim1);

}

static void MX_TIM4_Init(void)
{

  TIM_MasterConfigTypeDef sMasterConfig = {0};
  TIM_OC_InitTypeDef sConfigOC = {0};

  htim4.Instance = TIM4;
  htim4.Init.Prescaler = 0;
  htim4.Init.CounterMode = TIM_COUNTERMODE_CENTERALIGNED1;
  htim4.Init.Period = 28800-1;
  htim4.Init.ClockDivision = TIM_CLOCKDIVISION_DIV1;
  htim4.Init.AutoReloadPreload = TIM_AUTORELOAD_PRELOAD_ENABLE;
  if (HAL_TIM_PWM_Init(&htim4) != HAL_OK)
  {
    Error_Handler();
  }
  sMasterConfig.MasterOutputTrigger = TIM_TRGO_RESET;
  sMasterConfig.MasterSlaveMode = TIM_MASTERSLAVEMODE_DISABLE;
  if (HAL_TIMEx_MasterConfigSynchronization(&htim4, &sMasterConfig) != HAL_OK)
  {
    Error_Handler();
  }
  sConfigOC.OCMode = TIM_OCMODE_PWM1;
  sConfigOC.Pulse = 1;
  sConfigOC.OCPolarity = TIM_OCPOLARITY_HIGH;
  sConfigOC.OCFastMode = TIM_OCFAST_DISABLE;
  if (HAL_TIM_PWM_ConfigChannel(&htim4, &sConfigOC, TIM_CHANNEL_4) != HAL_OK)
  {
    Error_Handler();
  }
  HAL_TIM_MspPostInit(&htim4);

}

static void MX_TIM5_Init(void)
{

  TIM_MasterConfigTypeDef sMasterConfig = {0};
  TIM_OC_InitTypeDef sConfigOC = {0};

  htim5.Instance = TIM5;
  htim5.Init.Prescaler = 0;
  htim5.Init.CounterMode = TIM_COUNTERMODE_CENTERALIGNED1;
  htim5.Init.Period = 28800-1;
  htim5.Init.ClockDivision = TIM_CLOCKDIVISION_DIV1;
  htim5.Init.AutoReloadPreload = TIM_AUTORELOAD_PRELOAD_ENABLE;
  if (HAL_TIM_PWM_Init(&htim5) != HAL_OK)
  {
    Error_Handler();
  }
  sMasterConfig.MasterOutputTrigger = TIM_TRGO_RESET;
  sMasterConfig.MasterSlaveMode = TIM_MASTERSLAVEMODE_DISABLE;
  if (HAL_TIMEx_MasterConfigSynchronization(&htim5, &sMasterConfig) != HAL_OK)
  {
    Error_Handler();
  }
  sConfigOC.OCMode = TIM_OCMODE_PWM1;
  sConfigOC.Pulse = 1;
  sConfigOC.OCPolarity = TIM_OCPOLARITY_HIGH;
  sConfigOC.OCFastMode = TIM_OCFAST_DISABLE;
  if (HAL_TIM_PWM_ConfigChannel(&htim5, &sConfigOC, TIM_CHANNEL_1) != HAL_OK)
  {
    Error_Handler();
  }
  HAL_TIM_MspPostInit(&htim5);

}

static void MX_TIM14_Init(void)
{

  htim14.Instance = TIM14;
  htim14.Init.Prescaler = 0;
  htim14.Init.CounterMode = TIM_COUNTERMODE_UP;
  htim14.Init.Period = 57600-1;
  htim14.Init.ClockDivision = TIM_CLOCKDIVISION_DIV1;
  htim14.Init.AutoReloadPreload = TIM_AUTORELOAD_PRELOAD_DISABLE;
  if (HAL_TIM_Base_Init(&htim14) != HAL_OK)
  {
    Error_Handler();
  }

}

static void MX_TIM23_Init(void)
{

  TIM_Encoder_InitTypeDef sConfig = {0};
  TIM_MasterConfigTypeDef sMasterConfig = {0};

  htim23.Instance = TIM23;
  htim23.Init.Prescaler = 0;
  htim23.Init.CounterMode = TIM_COUNTERMODE_UP;
  htim23.Init.Period = 4294967295;
  htim23.Init.ClockDivision = TIM_CLOCKDIVISION_DIV1;
  htim23.Init.AutoReloadPreload = TIM_AUTORELOAD_PRELOAD_DISABLE;
  sConfig.EncoderMode = TIM_ENCODERMODE_TI12;
  sConfig.IC1Polarity = TIM_ICPOLARITY_RISING;
  sConfig.IC1Selection = TIM_ICSELECTION_DIRECTTI;
  sConfig.IC1Prescaler = TIM_ICPSC_DIV1;
  sConfig.IC1Filter = 0;
  sConfig.IC2Polarity = TIM_ICPOLARITY_RISING;
  sConfig.IC2Selection = TIM_ICSELECTION_DIRECTTI;
  sConfig.IC2Prescaler = TIM_ICPSC_DIV1;
  sConfig.IC2Filter = 0;
  if (HAL_TIM_Encoder_Init(&htim23, &sConfig) != HAL_OK)
  {
    Error_Handler();
  }
  sMasterConfig.MasterOutputTrigger = TIM_TRGO_RESET;
  sMasterConfig.MasterSlaveMode = TIM_MASTERSLAVEMODE_DISABLE;
  if (HAL_TIMEx_MasterConfigSynchronization(&htim23, &sMasterConfig) != HAL_OK)
  {
    Error_Handler();
  }

}

static void MX_GPIO_Init(void)
{
  GPIO_InitTypeDef GPIO_InitStruct = {0};

  /* GPIO Ports Clock Enable */
  __HAL_RCC_GPIOB_CLK_ENABLE();
  __HAL_RCC_GPIOG_CLK_ENABLE();
  __HAL_RCC_GPIOD_CLK_ENABLE();
  __HAL_RCC_GPIOE_CLK_ENABLE();
  __HAL_RCC_GPIOA_CLK_ENABLE();
  __HAL_RCC_GPIOH_CLK_ENABLE();
  __HAL_RCC_GPIOC_CLK_ENABLE();
  __HAL_RCC_GPIOF_CLK_ENABLE();

  /*Configure GPIO pin Output Level */
  HAL_GPIO_WritePin(GPIOG, LCD_BL_CTRL_Pin|GPIO_PIN_5, GPIO_PIN_RESET);

  /*Configure GPIO pin Output Level */
  HAL_GPIO_WritePin(LCD_DISP_GPIO_Port, LCD_DISP_Pin, GPIO_PIN_RESET);

  /*Configure GPIO pin Output Level */
  HAL_GPIO_WritePin(GPIOC, RENDER_TIME_Pin|VSYNC_FREQ_Pin, GPIO_PIN_SET);

  /*Configure GPIO pins : LCD_BL_CTRL_Pin PG5 */
  GPIO_InitStruct.Pin = LCD_BL_CTRL_Pin|GPIO_PIN_5;
  GPIO_InitStruct.Mode = GPIO_MODE_OUTPUT_PP;
  GPIO_InitStruct.Pull = GPIO_NOPULL;
  GPIO_InitStruct.Speed = GPIO_SPEED_FREQ_LOW;
  HAL_GPIO_Init(GPIOG, &GPIO_InitStruct);

  /*Configure GPIO pin : LCD_DISP_Pin */
  GPIO_InitStruct.Pin = LCD_DISP_Pin;
  GPIO_InitStruct.Mode = GPIO_MODE_OUTPUT_PP;
  GPIO_InitStruct.Pull = GPIO_NOPULL;
  GPIO_InitStruct.Speed = GPIO_SPEED_FREQ_LOW;
  HAL_GPIO_Init(LCD_DISP_GPIO_Port, &GPIO_InitStruct);

  /*Configure GPIO pins : RENDER_TIME_Pin VSYNC_FREQ_Pin */
  GPIO_InitStruct.Pin = RENDER_TIME_Pin|VSYNC_FREQ_Pin;
  GPIO_InitStruct.Mode = GPIO_MODE_OUTPUT_PP;
  GPIO_InitStruct.Pull = GPIO_PULLUP;
  GPIO_InitStruct.Speed = GPIO_SPEED_FREQ_VERY_HIGH;
  HAL_GPIO_Init(GPIOC, &GPIO_InitStruct);

}

/* USER CODE BEGIN 4 */

int movingAvg(int *ptrArrNumbers, long *ptrSum, int pos, int len, int nextNum)
{
  //Subtract the oldest number from the prev sum, add the new number
  *ptrSum = *ptrSum - ptrArrNumbers[pos] + nextNum;
  //Assign the nextNum to the position in the array
  ptrArrNumbers[pos] = nextNum;
  //return the average
  return *ptrSum / len;
}

void setModulationIndex(void)
{
	if(DIVIDE_BY_TWO_PI(PI_angularFrq) < 1.5)
	{
		modulationIndex = 0.03;

	}else if(DIVIDE_BY_TWO_PI(PI_angularFrq) >= 1.5)
	{
		modulationIndex = DIVIDE_BY_TWO_PI(PI_angularFrq) / 50.0f;
	}
}

void limitAngFrq(void)
{
	if(PI_angularFrq > MULTIPLY_BY_TWO_PI(50)) PI_angularFrq = 314.159265f;
	if(PI_angularFrq < 0) PI_angularFrq = 0;
}

void adjustRPM(uint32_t fooRPM)
{
	angularFrq = MULTIPLY_BY_TWO_PI(fooRPM) / 60.0f;
}

float pi_control(PI_DATA_t* arg, float error)
{

	arg->sum = sat(arg->sum + arg->ki * error ,arg->plmt, arg->nlmt);//arg->plmt, arg->nlmt);

	return  sat(arg->sum + error * arg->kp,arg->plmt, arg->nlmt);//arg->plmt, arg->nlmt);

}
float sat(float x, float max, float min){
	if(x > max)
	{
		x = max;
	}
	if(x < min)
	{
		x = min;
	}

	return x;
}

void HAL_TIM_IC_CaptureCallback(TIM_HandleTypeDef *htim)
{
	if(htim->Instance == TIM23)
	{
		counterEnc = __HAL_TIM_GET_COUNTER(htim);
		signedCounterEnc = (int32_t)counterEnc;
		position = signedCounterEnc/4.0;
	}

}

void adjustMIAndFreq(uint32_t foo_freq, float foo_MI)
{
	modulationIndex = foo_MI;
	frq = foo_freq;
	angularFrq = foo_freq * TWO_PI;
	upperLimit = (5000/foo_freq);
	counter = 0;

}

void adjustMIAndFreqforPI(float foo_freq, float foo_MI)
{

	if((foo_freq - old_foo_freq) >= 2){

	modulationIndex = foo_MI;
	frq = foo_freq;

	upperLimit = (5000/foo_freq);
	counter = 0;
	old_foo_freq = foo_freq;
	}

}

void motorStart(void)
{
	  HAL_TIM_PWM_Start(&htim1, TIM_CHANNEL_4);
	  HAL_TIM_PWM_Start(&htim4, TIM_CHANNEL_4);
	  HAL_TIM_PWM_Start(&htim5, TIM_CHANNEL_1);
	  HAL_TIM_Base_Start_IT(&htim14);
	  HAL_TIM_Encoder_Start_IT(&htim23, TIM_CHANNEL_ALL);
}

/* USER CODE END 4 */

void StartDefaultTask(void *argument)
{
  /* USER CODE BEGIN 5 */
  /* Infinite loop */
  for(;;)
  {
    osDelay(100);
  }
  /* USER CODE END 5 */
}

/* MPU Configuration */

void MPU_Config(void)
{
  MPU_Region_InitTypeDef MPU_InitStruct = {0};

  /* Disables the MPU */
  HAL_MPU_Disable();
  /** Initializes and configures the Region and the memory to be protected
  */
  MPU_InitStruct.Enable = MPU_REGION_ENABLE;
  MPU_InitStruct.Number = MPU_REGION_NUMBER0;
  MPU_InitStruct.BaseAddress = 0x24000000;
  MPU_InitStruct.Size = MPU_REGION_SIZE_512KB;
  MPU_InitStruct.SubRegionDisable = 0x0;
  MPU_InitStruct.TypeExtField = MPU_TEX_LEVEL0;
  MPU_InitStruct.AccessPermission = MPU_REGION_FULL_ACCESS;
  MPU_InitStruct.DisableExec = MPU_INSTRUCTION_ACCESS_DISABLE;
  MPU_InitStruct.IsShareable = MPU_ACCESS_NOT_SHAREABLE;
  MPU_InitStruct.IsCacheable = MPU_ACCESS_CACHEABLE;
  MPU_InitStruct.IsBufferable = MPU_ACCESS_BUFFERABLE;

  HAL_MPU_ConfigRegion(&MPU_InitStruct);
  /** Initializes and configures the Region and the memory to be protected
  */
  MPU_InitStruct.Number = MPU_REGION_NUMBER1;
  MPU_InitStruct.BaseAddress = 0x70000000;
  MPU_InitStruct.Size = MPU_REGION_SIZE_512MB;
  MPU_InitStruct.AccessPermission = MPU_REGION_NO_ACCESS;
  MPU_InitStruct.IsCacheable = MPU_ACCESS_NOT_CACHEABLE;
  MPU_InitStruct.IsBufferable = MPU_ACCESS_NOT_BUFFERABLE;

  HAL_MPU_ConfigRegion(&MPU_InitStruct);
  /** Initializes and configures the Region and the memory to be protected
  */
  MPU_InitStruct.Number = MPU_REGION_NUMBER2;
  MPU_InitStruct.Size = MPU_REGION_SIZE_8MB;
  MPU_InitStruct.AccessPermission = MPU_REGION_FULL_ACCESS;
  MPU_InitStruct.IsCacheable = MPU_ACCESS_CACHEABLE;
  MPU_InitStruct.IsBufferable = MPU_ACCESS_BUFFERABLE;

  HAL_MPU_ConfigRegion(&MPU_InitStruct);
  /** Initializes and configures the Region and the memory to be protected
  */
  MPU_InitStruct.Number = MPU_REGION_NUMBER3;
  MPU_InitStruct.BaseAddress = 0x90000000;
  MPU_InitStruct.Size = MPU_REGION_SIZE_512MB;
  MPU_InitStruct.AccessPermission = MPU_REGION_NO_ACCESS;
  MPU_InitStruct.IsCacheable = MPU_ACCESS_NOT_CACHEABLE;
  MPU_InitStruct.IsBufferable = MPU_ACCESS_NOT_BUFFERABLE;

  HAL_MPU_ConfigRegion(&MPU_InitStruct);
  /** Initializes and configures the Region and the memory to be protected
  */
  MPU_InitStruct.Number = MPU_REGION_NUMBER4;
  MPU_InitStruct.Size = MPU_REGION_SIZE_64MB;
  MPU_InitStruct.AccessPermission = MPU_REGION_FULL_ACCESS;
  MPU_InitStruct.IsCacheable = MPU_ACCESS_CACHEABLE;

  HAL_MPU_ConfigRegion(&MPU_InitStruct);
  /* Enables the MPU */
  HAL_MPU_Enable(MPU_PRIVILEGED_DEFAULT);

}

void HAL_TIM_PeriodElapsedCallback(TIM_HandleTypeDef *htim)
{
  /* USER CODE BEGIN Callback 0 */

	if (htim->Instance == TIM14)
	{
		// Buraya PG5 i toggle etme olayı denenecek
		//HAL_GPIO_WritePin(GPIOG, GPIO_PIN_5, GPIO_PIN_SET);

		float theta = (frq * TWO_PI * counter) * time;
		float dutyA = ((sinf(theta) * modulationIndex) * 0.5f) + 0.5f;
		float dutyB = ((sinf(theta + (TWO_PI_DIV_BY_THREE)) * modulationIndex) * 0.5f) + 0.5f;
		float dutyC = ((sinf(theta + (FOUR_PI_DIV_BY_THREE)) * modulationIndex) * 0.5f) + 0.5f;

		if(modulationIndex != 0)
		{
			__HAL_TIM_SET_COMPARE(&htim1, TIM_CHANNEL_4, dutyA * (normalize));
			__HAL_TIM_SET_COMPARE(&htim4, TIM_CHANNEL_4, dutyB * (normalize));
			__HAL_TIM_SET_COMPARE(&htim5, TIM_CHANNEL_1, dutyC * (normalize));

			counter++;

		}else if(modulationIndex == 0)
		{
			__HAL_TIM_SET_COMPARE(&htim1, TIM_CHANNEL_4, 0);
			__HAL_TIM_SET_COMPARE(&htim4, TIM_CHANNEL_4, 0);
			__HAL_TIM_SET_COMPARE(&htim5, TIM_CHANNEL_1, 0);

			counter = 0;

		}

		if(counter > upperLimit)
		{
			counter = 0;
		}

		indx++;
		if(indx == 200)
		{
			rpm_ref = angularFrq*60/TWO_PI;
			speed = (position - oldpos) * 25; // speed in clicks/sec

		/*	if(rpm_ref <= 400)
				fl_rpm = (1.0063*((0.0707304 * speed) - 8.75)) + offset;//(0.994 * ((0.0707304 * speed) - 8.75)) - 6.1246;//(1.0059 * ((0.0707304 * speed) - 8.75)) + 6.2507;//(1.04 * ((1.1335*((speed * 60))/1000.0) + 15.8)) -25.182; //1.1335*((speed * 60)/1000.0) + 15.8;
			else if(rpm_ref > 400 && rpm_ref <= 700)
				fl_rpm = (1.0063*((0.0707304 * speed) - 8.75)) + (offset - 20);
			else if(rpm_ref > 700 && rpm_ref < 900)
				fl_rpm = (1.0063*((0.0707304 * speed) - 8.75)) + (offset - 30);
			else
				fl_rpm = (1.0063*((0.0707304 * speed) - 8.75)) + (offset - 40); */

			//fl_rpm = (1.0063*(0.0707304 * speed)) + offset;
			fl_rpm = (1.0572 * SPEED_TO_RPM(speed)) - 2.1893;

			(rpm < 0) ? (rpm = 0, fl_rpm = 0.0) : (rpm = (int)fl_rpm);
			angularFrqEnc = (fl_rpm / 60.0f) * TWO_PI;

			newAvgRpm = movingAvg(arrNumbers, &sum, pos, len, rpm);
		    pos++;
		    if (pos >= len){
		      pos = 0;
		    }

			if(piUsed == 1)
			{
				temp_pi_control = pi_control(&angularFreqPI, angularFrq - angularFrqEnc);
				PI_angularFrq = angularFrqEnc + temp_pi_control;
				limitAngFrq();
				setModulationIndex();
				if(angularFrq != 0) adjustMIAndFreqforPI(DIVIDE_BY_TWO_PI(PI_angularFrq), modulationIndex);
				else if (angularFrq == 0) adjustMIAndFreqforPI(DIVIDE_BY_TWO_PI(PI_angularFrq), 0);
			}
			oldpos = position;
			indx = 0;
		}

		//HAL_GPIO_WritePin(GPIOG, GPIO_PIN_5, GPIO_PIN_RESET);
	}
  /* USER CODE END Callback 0 */
  if (htim->Instance == TIM6) {
    HAL_IncTick();
  }
}

void Error_Handler(void)
{
}
